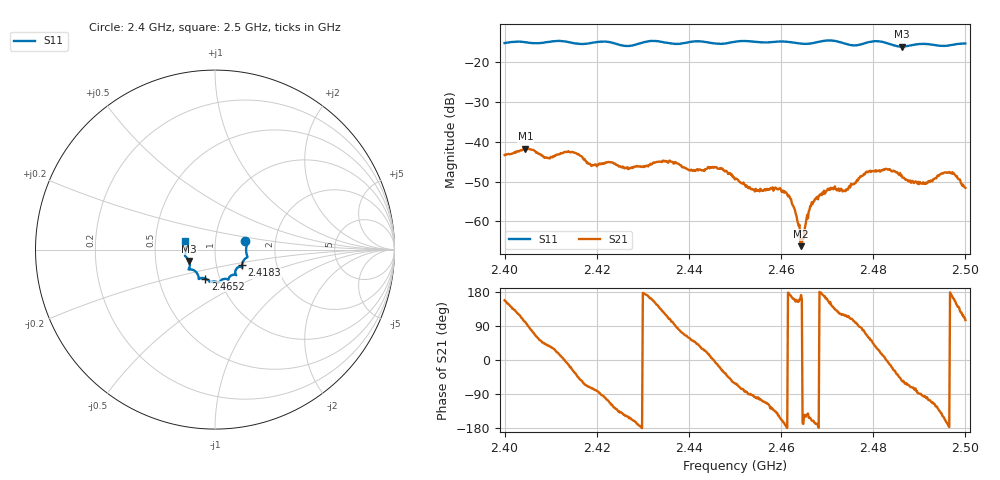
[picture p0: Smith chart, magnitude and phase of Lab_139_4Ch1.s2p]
# Hz S RI R 50
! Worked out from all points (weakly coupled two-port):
!   601 points, 2.4 GHz to 2.5 GHz, reference 50 ohm
!   highest |S21| = -41.68 dB at 2.4045 GHz (marker M1); lowest = -66.2 dB at 2.4643 GHz (marker M2)
!   lowest |S11| = -16.1 dB at 2.4862 GHz (marker M3), VSWR 1.37, Z = 37.2 - j4.87 ohm
!   |S11| at or under -10 dB: start of sweep to end of sweep
!   S12 and S22 are empty: the file has one direction only
!   S11 on the Smith chart (normalised r, x): 2.4 GHz: 1.40, +0.14; 2.4183 GHz: 1.33, -0.24; 2.4652 GHz: 0.85, -0.28; 2.5 GHz: 0.71, +0.07
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2.4e9  0.168 0.0471  -0.00631 0.00261  0 0  0 0
2.4045e9  0.1771 0.0229  -0.00142 0.00811  0 0  0 0
2.409167e9  0.1769 -0.0277  0.00483 0.00401  0 0  0 0
2.416667e9  0.1554 -0.0681  0.00386 -0.00534  0 0  0 0
2.418333e9  0.1501 -0.0863  0.00175 -0.00499  0 0  0 0
2.433333e9  0.1171 -0.1413  -0.00443 0.00344  0 0  0 0
2.4455e9  0.0582 -0.1626  0.00484 -0.000157  0 0  0 0
2.45e9  0.0261 -0.1795  0.0016 -0.00296  0 0  0 0
2.453833e9  0.0149 -0.1817  -0.000142 -0.00252  0 0  0 0
2.461333e9  -0.0303 -0.1783  -0.00219 -1.41e-05  0 0  0 0
2.462833e9  -0.0353 -0.1726  -0.0014 0.000477  0 0  0 0
2.464333e9  -0.0459 -0.1653  -0.000483 7.12e-05  0 0  0 0
2.465167e9  -0.0546 -0.1615  -0.000695 -0.000458  0 0  0 0
2.466667e9  -0.0709 -0.1581  -0.00164 -0.000595  0 0  0 0
2.470333e9  -0.0911 -0.1644  -0.00224 0.00109  0 0  0 0
2.474e9  -0.095 -0.142  -0.0011 0.00213  0 0  0 0
2.478833e9  -0.1398 -0.1104  0.002 0.00362  0 0  0 0
2.483333e9  -0.1417 -0.0967  0.00442 -0.00065  0 0  0 0
2.486167e9  -0.1435 -0.0638  0.00223 -0.00308  0 0  0 0
2.491e9  -0.167 -0.0329  -0.000348 -0.00297  0 0  0 0
2.496667e9  -0.1619 0.0227  -0.00406 0.000111  0 0  0 0
2.5e9  -0.1657 0.0472  -0.000691 0.00254  0 0  0 0
